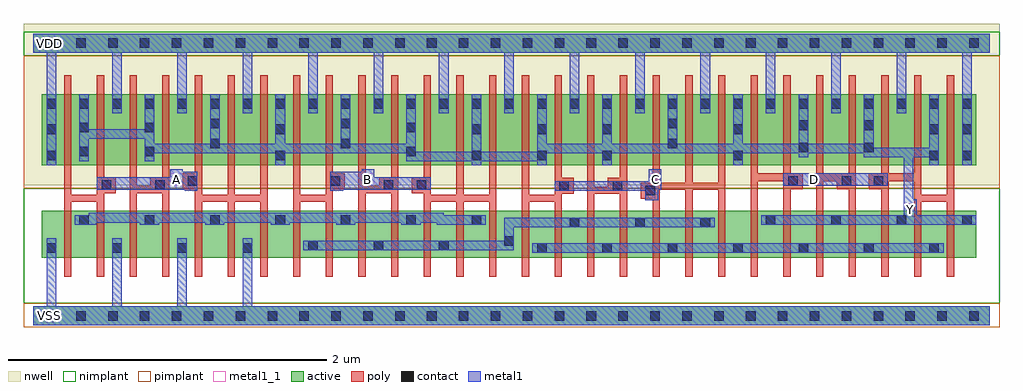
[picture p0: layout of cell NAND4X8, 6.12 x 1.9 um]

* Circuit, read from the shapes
.subckt NAND4X8 A B C D VDD VSS Y
M1 n1 A VSS VSS nfet w=0.295u l=0.045u m=7
M2 n2 B n1 VSS nfet w=0.295u l=0.045u m=7
M3 n3 C n2 VSS nfet w=0.295u l=0.045u m=7
M4 Y D n3 VSS nfet w=0.295u l=0.045u m=7
M5 Y A VDD VDD pfet w=0.445u l=0.045u m=7
M6 VDD B Y VDD pfet w=0.445u l=0.045u m=7
M7 Y C VDD VDD pfet w=0.445u l=0.045u m=7
M8 VDD D Y VDD pfet w=0.445u l=0.045u m=7
.ends

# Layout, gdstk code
import gdstk
lib = gdstk.Library(unit=1e-6, precision=5e-10)
def R(c, l, rs):  # rectangles x0, y0, x1, y1
    for r in rs: c.add(gdstk.rectangle(r[:2], r[2:], *l))
def A(c, l, x, y, w, h, nx, ny, dx, dy):  # array of equal rectangles
    R(c, l, [(x+i*dx, y+j*dy, x+i*dx+w, y+j*dy+h) for i in range(nx) for j in range(ny)])
def P(c, l, *ps):  # polygons
    for p in ps: c.add(gdstk.Polygon(p, *l))
active = (1, 0)
nwell = (2, 0)
poly = (3, 0)
nimplant = (4, 0)
pimplant = (5, 0)
contact = (6, 0)
metal1 = (7, 0)
metal1_1 = (7, 1)

nand4x8 = lib.new_cell('NAND4X8')
R(nand4x8, active, [(0,-0.06,6,0.06), (0.055,0.365,5.915,0.66), (0.055,0.945,5.915,1.39), (0,1.65,6,1.77)])
R(nand4x8, nwell, [(-0.06,0.82,6.06,1.83)])
P(nand4x8, poly, [(0.195,1.51),(0.24,1.51),(0.24,0.76),(0.4,0.76),(0.4,1.51),(0.445,1.51),(0.445,0.87),(0.52,0.87),(0.52,0.77),(0.445,0.77),(0.445,0.245),(0.4,0.245),(0.4,0.715),(0.24,0.715),(0.24,0.245),(0.195,0.245)],
  [(0.605,1.51),(0.65,1.51),(0.65,0.815),(0.735,0.815),(0.735,0.87),(0.81,0.87),(0.81,1.51),(0.855,1.51),(0.855,0.245),(0.81,0.245),(0.81,0.77),(0.65,0.77),(0.65,0.245),(0.605,0.245)],
  [(1.015,1.51),(1.06,1.51),(1.06,0.76),(1.22,0.76),(1.22,1.51),(1.265,1.51),(1.265,0.76),(1.425,0.76),(1.425,1.51),(1.47,1.51),(1.47,0.245),(1.425,0.245),(1.425,0.715),(1.265,0.715),(1.265,0.245),(1.22,0.245),(1.22,0.715),(1.06,0.715),(1.06,0.245),(1.015,0.245),(1.015,0.795),(0.94,0.795),(0.94,0.895),(1.015,0.895)],
  [(1.63,1.51),(1.675,1.51),(1.675,0.76),(1.835,0.76),(1.835,1.51),(1.88,1.51),(1.88,0.895),(1.955,0.895),(1.955,0.795),(1.88,0.795),(1.88,0.245),(1.835,0.245),(1.835,0.715),(1.675,0.715),(1.675,0.245),(1.63,0.245)],
  [(2.04,1.51),(2.085,1.51),(2.085,0.815),(2.17,0.815),(2.17,0.87),(2.245,0.87),(2.245,1.51),(2.29,1.51),(2.29,0.245),(2.245,0.245),(2.245,0.77),(2.085,0.77),(2.085,0.245),(2.04,0.245)],
  [(2.45,1.51),(2.495,1.51),(2.495,0.76),(2.655,0.76),(2.655,1.51),(2.7,1.51),(2.7,0.76),(2.86,0.76),(2.86,1.51),(2.905,1.51),(2.905,0.245),(2.86,0.245),(2.86,0.715),(2.7,0.715),(2.7,0.245),(2.655,0.245),(2.655,0.715),(2.495,0.715),(2.495,0.245),(2.45,0.245),(2.45,0.77),(2.375,0.77),(2.375,0.87),(2.45,0.87)],
  [(3.065,1.51),(3.11,1.51),(3.11,0.76),(3.27,0.76),(3.27,1.51),(3.315,1.51),(3.315,0.865),(3.39,0.865),(3.39,0.765),(3.315,0.765),(3.315,0.245),(3.27,0.245),(3.27,0.715),(3.11,0.715),(3.11,0.245),(3.065,0.245)],
  [(3.475,1.51),(3.52,1.51),(3.52,0.81),(3.605,0.81),(3.605,0.865),(3.68,0.865),(3.68,1.51),(3.725,1.51),(3.725,0.245),(3.68,0.245),(3.68,0.765),(3.52,0.765),(3.52,0.245),(3.475,0.245)],
  [(3.885,1.51),(3.93,1.51),(3.93,0.835),(4.09,0.835),(4.09,1.51),(4.135,1.51),(4.135,0.835),(4.295,0.835),(4.295,1.51),(4.34,1.51),(4.34,0.245),(4.295,0.245),(4.295,0.79),(4.135,0.79),(4.135,0.245),(4.09,0.245),(4.09,0.79),(3.93,0.79),(3.93,0.245),(3.885,0.245),(3.885,0.735),(3.81,0.735),(3.81,0.835),(3.885,0.835)],
  [(4.5,1.51),(4.545,1.51),(4.545,0.895),(4.705,0.895),(4.705,1.51),(4.75,1.51),(4.75,0.895),(4.825,0.895),(4.825,0.795),(4.75,0.795),(4.75,0.245),(4.705,0.245),(4.705,0.845),(4.545,0.845),(4.545,0.245),(4.5,0.245)],
  [(4.91,1.51),(4.955,1.51),(4.955,0.895),(5.115,0.895),(5.115,1.51),(5.16,1.51),(5.16,0.245),(5.115,0.245),(5.115,0.795),(5.04,0.795),(5.04,0.845),(4.955,0.845),(4.955,0.245),(4.91,0.245)],
  [(5.32,1.51),(5.365,1.51),(5.365,0.895),(5.525,0.895),(5.525,1.51),(5.57,1.51),(5.57,0.76),(5.73,0.76),(5.73,1.51),(5.775,1.51),(5.775,0.245),(5.73,0.245),(5.73,0.715),(5.57,0.715),(5.57,0.245),(5.525,0.245),(5.525,0.845),(5.365,0.845),(5.365,0.245),(5.32,0.245),(5.32,0.795),(5.24,0.795),(5.24,0.895),(5.32,0.895)])
R(nand4x8, nimplant, [(-0.06,0.08,6.06,0.8), (-0.06,1.63,6.06,1.78)])
R(nand4x8, pimplant, [(-0.06,-0.07,6.06,0.08), (-0.06,0.8,6.06,1.63)])
A(nand4x8, contact, 0.07, -0.03, 0.06, 0.06, 30, 2, 0.2, 1.71)
A(nand4x8, contact, 0.085, 0.395, 0.06, 0.06, 4, 1, 0.41, 0)
A(nand4x8, contact, 3.16, 0.395, 0.06, 0.06, 7, 1, 0.41, 0)
A(nand4x8, contact, 1.725, 0.41, 0.06, 0.06, 3, 1, 0.41, 0)
A(nand4x8, contact, 3.365, 0.555, 0.06, 0.06, 3, 1, 0.41, 0)
A(nand4x8, contact, 0.29, 0.57, 0.06, 0.06, 7, 1, 0.41, 0)
A(nand4x8, contact, 4.595, 0.57, 0.06, 0.06, 4, 1, 0.41, 0)
A(nand4x8, contact, 2.75, 0.975, 0.06, 0.06, 3, 2, 0.41, 0.165)
A(nand4x8, contact, 0.085, 1.3, 0.06, 0.06, 29, 1, 0.205, 0)
R(nand4x8, contact, [(2.955,0.44,3.015,0.5), (3.84,0.755,3.9,0.815), (3.3,0.785,3.36,0.845), (3.635,0.785,3.695,0.845), (0.43,0.79,0.49,0.85), (0.765,0.79,0.825,0.85), (2.2,0.79,2.26,0.85), (2.405,0.79,2.465,0.85), (0.97,0.815,1.03,0.875), (1.865,0.815,1.925,0.875), (4.735,0.815,4.795,0.875), (5.07,0.815,5.13,0.875), (5.27,0.815,5.33,0.875), (0.085,0.975,0.145,1.035), (1.52,0.975,1.58,1.035), (4.39,0.975,4.45,1.035), (5.62,0.975,5.68,1.035), (5.825,0.975,5.885,1.035), (0.29,1,0.35,1.06), (0.7,1,0.76,1.06), (2.34,1,2.4,1.06), (4.8,1.025,4.86,1.085), (5.21,1.025,5.27,1.085), (1.11,1.05,1.17,1.11), (1.93,1.05,1.99,1.11), (3.98,1.05,4.04,1.11), (0.085,1.14,0.145,1.2), (1.52,1.14,1.58,1.2), (4.39,1.14,4.45,1.2), (5.62,1.14,5.68,1.2), (5.825,1.14,5.885,1.2), (0.29,1.15,0.35,1.21), (0.7,1.15,0.76,1.21), (2.34,1.15,2.4,1.21), (4.8,1.165,4.86,1.225), (5.21,1.165,5.27,1.225), (1.11,1.175,1.17,1.235), (1.93,1.175,1.99,1.235), (3.98,1.175,4.04,1.235)])
R(nand4x8, metal1, [(3.13,0.395,5.71,0.455), (4.705,0.815,5.36,0.895)])
P(nand4x8, metal1, [(0,1.77),(6,1.77),(6,1.65),(5.885,1.65),(5.885,0.945),(5.825,0.945),(5.825,1.65),(5.475,1.65),(5.475,1.27),(5.415,1.27),(5.415,1.65),(5.065,1.65),(5.065,1.27),(5.005,1.27),(5.005,1.65),(4.655,1.65),(4.655,1.27),(4.595,1.27),(4.595,1.65),(4.245,1.65),(4.245,1.27),(4.185,1.27),(4.185,1.65),(3.835,1.65),(3.835,1.27),(3.775,1.27),(3.775,1.65),(3.425,1.65),(3.425,1.27),(3.365,1.27),(3.365,1.65),(3.015,1.65),(3.015,1.27),(2.955,1.27),(2.955,1.65),(2.605,1.65),(2.605,1.27),(2.545,1.27),(2.545,1.65),(2.195,1.65),(2.195,1.27),(2.135,1.27),(2.135,1.65),(1.785,1.65),(1.785,1.27),(1.725,1.27),(1.725,1.65),(1.375,1.65),(1.375,1.27),(1.315,1.27),(1.315,1.65),(0.965,1.65),(0.965,1.27),(0.905,1.27),(0.905,1.65),(0.555,1.65),(0.555,1.27),(0.495,1.27),(0.495,1.65),(0.145,1.65),(0.145,0.945),(0.085,0.945),(0.085,1.65),(0,1.65)],
  [(0.29,1.39),(0.35,1.39),(0.35,1.17),(0.7,1.17),(0.7,1.39),(0.76,1.39),(0.76,1.08),(1.11,1.08),(1.11,1.39),(1.17,1.39),(1.17,1.08),(1.52,1.08),(1.52,1.39),(1.58,1.39),(1.58,1.08),(1.93,1.08),(1.93,1.39),(1.99,1.39),(1.99,1.08),(2.34,1.08),(2.34,1.39),(2.4,1.39),(2.4,1.03),(2.75,1.03),(2.75,1.39),(2.81,1.39),(2.81,1.03),(3.16,1.03),(3.16,1.39),(3.22,1.39),(3.22,1.08),(3.57,1.08),(3.57,1.39),(3.63,1.39),(3.63,1.08),(3.98,1.08),(3.98,1.39),(4.04,1.39),(4.04,1.08),(4.39,1.08),(4.39,1.39),(4.45,1.39),(4.45,1.08),(4.8,1.08),(4.8,1.39),(4.86,1.39),(4.86,1.08),(5.21,1.08),(5.21,1.39),(5.27,1.39),(5.27,1.055),(5.62,1.055),(5.62,1.39),(5.68,1.39),(5.68,0.945),(5.62,0.945),(5.62,0.995),(5.52,0.995),(5.52,0.73),(5.54,0.73),(5.54,0.63),(5.915,0.63),(5.915,0.57),(4.565,0.57),(4.565,0.63),(5.46,0.63),(5.46,0.995),(5.21,0.995),(5.21,1.02),(4.86,1.02),(4.86,0.995),(4.8,0.995),(4.8,1.02),(4.45,1.02),(4.45,0.945),(4.39,0.945),(4.39,1.02),(3.63,1.02),(3.63,0.945),(3.57,0.945),(3.57,1.02),(3.22,1.02),(3.22,0.945),(3.16,0.945),(3.16,0.97),(2.81,0.97),(2.81,0.945),(2.75,0.945),(2.75,0.97),(2.34,0.97),(2.34,1.02),(1.58,1.02),(1.58,0.945),(1.52,0.945),(1.52,1.02),(0.76,1.02),(0.76,0.97),(0.7,0.97),(0.7,1.11),(0.35,1.11),(0.35,0.97),(0.29,0.97)],
  [(0.86,0.92),(0.94,0.92),(0.94,0.905),(1.03,0.905),(1.03,0.785),(0.95,0.785),(0.95,0.79),(0.4,0.79),(0.4,0.87),(0.86,0.87)],
  [(2.06,0.92),(2.14,0.92),(2.14,0.87),(2.495,0.87),(2.495,0.79),(1.945,0.79),(1.945,0.785),(1.865,0.785),(1.865,0.905),(2.06,0.905)],
  [(3.86,0.92),(3.94,0.92),(3.94,0.79),(3.92,0.79),(3.92,0.725),(3.84,0.725),(3.84,0.785),(3.27,0.785),(3.27,0.845),(3.86,0.845)],
  [(0.35,0.645),(2.575,0.645),(2.575,0.63),(2.84,0.63),(2.84,0.57),(2.53,0.57),(2.53,0.585),(2.43,0.585),(2.43,0.57),(2.31,0.57),(2.31,0.585),(2.02,0.585),(2.02,0.57),(1.9,0.57),(1.9,0.585),(1.61,0.585),(1.61,0.57),(1.49,0.57),(1.49,0.585),(1.2,0.585),(1.2,0.57),(1.08,0.57),(1.08,0.585),(0.79,0.585),(0.79,0.57),(0.67,0.57),(0.67,0.585),(0.395,0.585),(0.395,0.57),(0.26,0.57),(0.26,0.63),(0.35,0.63)],
  [(2.955,0.615),(4.275,0.615),(4.275,0.555),(3.015,0.555),(3.015,0.41),(1.695,0.41),(1.695,0.47),(2.955,0.47)],
  [(0.085,0.485),(0.145,0.485),(0.145,0.06),(0.495,0.06),(0.495,0.485),(0.555,0.485),(0.555,0.06),(0.905,0.06),(0.905,0.485),(0.965,0.485),(0.965,0.06),(1.315,0.06),(1.315,0.485),(1.375,0.485),(1.375,0.06),(6,0.06),(6,-0.06),(0,-0.06),(0,0.06),(0.085,0.06)])
R(nand4x8, metal1_1, [(0.06,-0.04,0.14,0.04), (5.46,0.625,5.54,0.705), (0.86,0.815,0.94,0.895), (2.06,0.815,2.14,0.895), (3.86,0.815,3.94,0.895), (4.86,0.815,4.94,0.895), (0.06,1.67,0.14,1.75)])
nand4x8.add(gdstk.Label('Y', (5.5,0.665), layer=7, texttype=1))
nand4x8.add(gdstk.Label('A', (0.9,0.855), layer=7, texttype=1))
nand4x8.add(gdstk.Label('B', (2.1,0.855), layer=7, texttype=1))
nand4x8.add(gdstk.Label('C', (3.9,0.855), layer=7, texttype=1))
nand4x8.add(gdstk.Label('D', (4.9,0.855), layer=7, texttype=1))
nand4x8.add(gdstk.Label('VDD', (0.1,1.71), layer=7, texttype=1))
nand4x8.add(gdstk.Label('VSS', (0.1,0), layer=7, texttype=1))
nand4x8.add(gdstk.Label('NAND4X8', (0,0), layer=63, texttype=0))

lib.write_gds('NAND4X8.gds')
